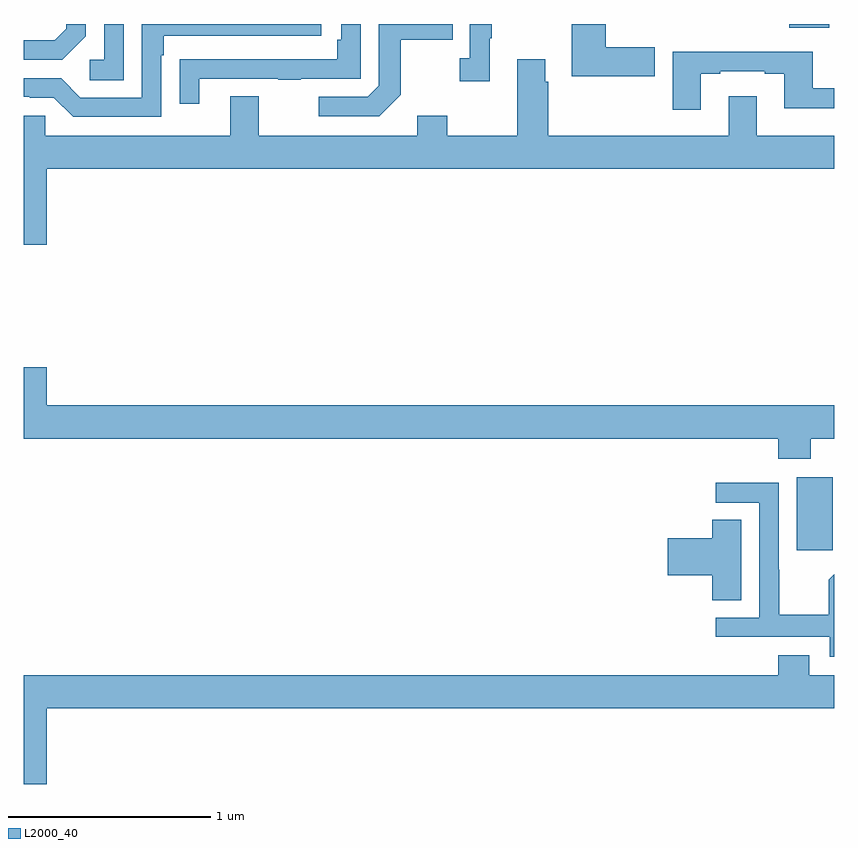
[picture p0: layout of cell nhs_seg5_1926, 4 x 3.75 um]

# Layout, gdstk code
import gdstk
lib = gdstk.Library(unit=1e-6, precision=1e-09)
def R(c, l, rs):  # rectangles x0, y0, x1, y1
    for r in rs: c.add(gdstk.rectangle(r[:2], r[2:], *l))
def P(c, l, *ps):  # polygons
    for p in ps: c.add(gdstk.Polygon(p, *l))
L2000_40 = (2000, 40)

nhs_seg5_1926 = lib.new_cell('nhs_seg5_1926')
R(nhs_seg5_1926, L2000_40, [(228.815,864.201,228.994,864.562), (228.779,866.78,228.976,866.799)])
P(nhs_seg5_1926, L2000_40, [(225.306,866.738),(225.306,866.799),(225.209,866.799),(225.209,866.775),(225.152,866.718),(225,866.718),(225,866.622),(225.19,866.622)],
  [(227.299,866.729),(227.311,866.729),(227.311,866.799),(227.202,866.799),(227.202,866.63),(227.151,866.63),(227.151,866.517),(227.299,866.517)],
  [(226.861,866.449),(226.861,866.722),(227.117,866.722),(227.117,866.799),(226.752,866.799),(226.752,866.493),(226.698,866.439),(226.455,866.439),(226.455,866.343),(226.755,866.343)],
  [(228.115,866.684),(227.874,866.684),(227.874,866.799),(227.704,866.799),(227.704,866.542),(228.115,866.542)],
  [(225.865,866.529),(226.255,866.529),(226.255,866.524),(226.367,866.524),(226.367,866.529),(226.662,866.529),(226.662,866.799),(226.566,866.799),(226.566,866.722),(226.546,866.722),(226.546,866.625),(225.871,866.625),(225.871,866.624),(225.769,866.624),(225.769,866.406),(225.865,866.406)],
  [(225.492,866.799),(225.396,866.799),(225.396,866.622),(225.324,866.622),(225.324,866.521),(225.492,866.521)],
  [(225.678,866.645),(225.691,866.645),(225.691,866.742),(226.468,866.742),(226.468,866.799),(225.582,866.799),(225.582,866.436),(225.279,866.436),(225.183,866.532),(225,866.532),(225,866.439),(225.029,866.439),(225.029,866.436),(225.147,866.436),(225.243,866.34),(225.678,866.34)],
  [(228.343,866.553),(228.439,866.553),(228.439,866.565),(228.659,866.565),(228.659,866.553),(228.755,866.553),(228.755,866.384),(229,866.384),(229,866.481),(228.895,866.481),(228.895,866.662),(228.203,866.662),(228.203,866.376),(228.343,866.376)],
  [(225.112,866.084),(229,866.084),(229,866.248),(228.619,866.248),(228.619,866.443),(228.479,866.443),(228.479,866.248),(227.588,866.248),(227.588,866.513),(227.575,866.513),(227.575,866.626),(227.435,866.626),(227.435,866.248),(227.091,866.248),(227.091,866.347),(226.943,866.347),(226.943,866.248),(226.159,866.248),(226.159,866.443),(226.019,866.443),(226.019,866.248),(225.105,866.248),(225.105,866.346),(225,866.346),(225,865.71),(225.112,865.71)],
  [(228.885,864.752),(229,864.752),(229,864.916),(225.112,864.916),(225.112,865.105),(225,865.105),(225,864.752),(228.725,864.752),(228.725,864.653),(228.885,864.653)],
  [(229,864.082),(228.973,864.055),(228.973,863.881),(228.729,863.881),(228.729,864.104),(228.726,864.104),(228.726,864.534),(228.417,864.534),(228.417,864.435),(228.63,864.435),(228.63,863.868),(228.417,863.868),(228.417,863.772),(228.978,863.772),(228.978,863.675),(229,863.675)],
  [(228.541,864.35),(228.398,864.35),(228.398,864.26),(228.18,864.26),(228.18,864.077),(228.398,864.077),(228.398,863.953),(228.541,863.953)],
  [(225.112,863.42),(229,863.42),(229,863.584),(228.877,863.584),(228.877,863.683),(228.725,863.683),(228.725,863.584),(225,863.584),(225,863.046),(225.112,863.046)])

lib.write_gds('nhs_seg5_1926.gds')
